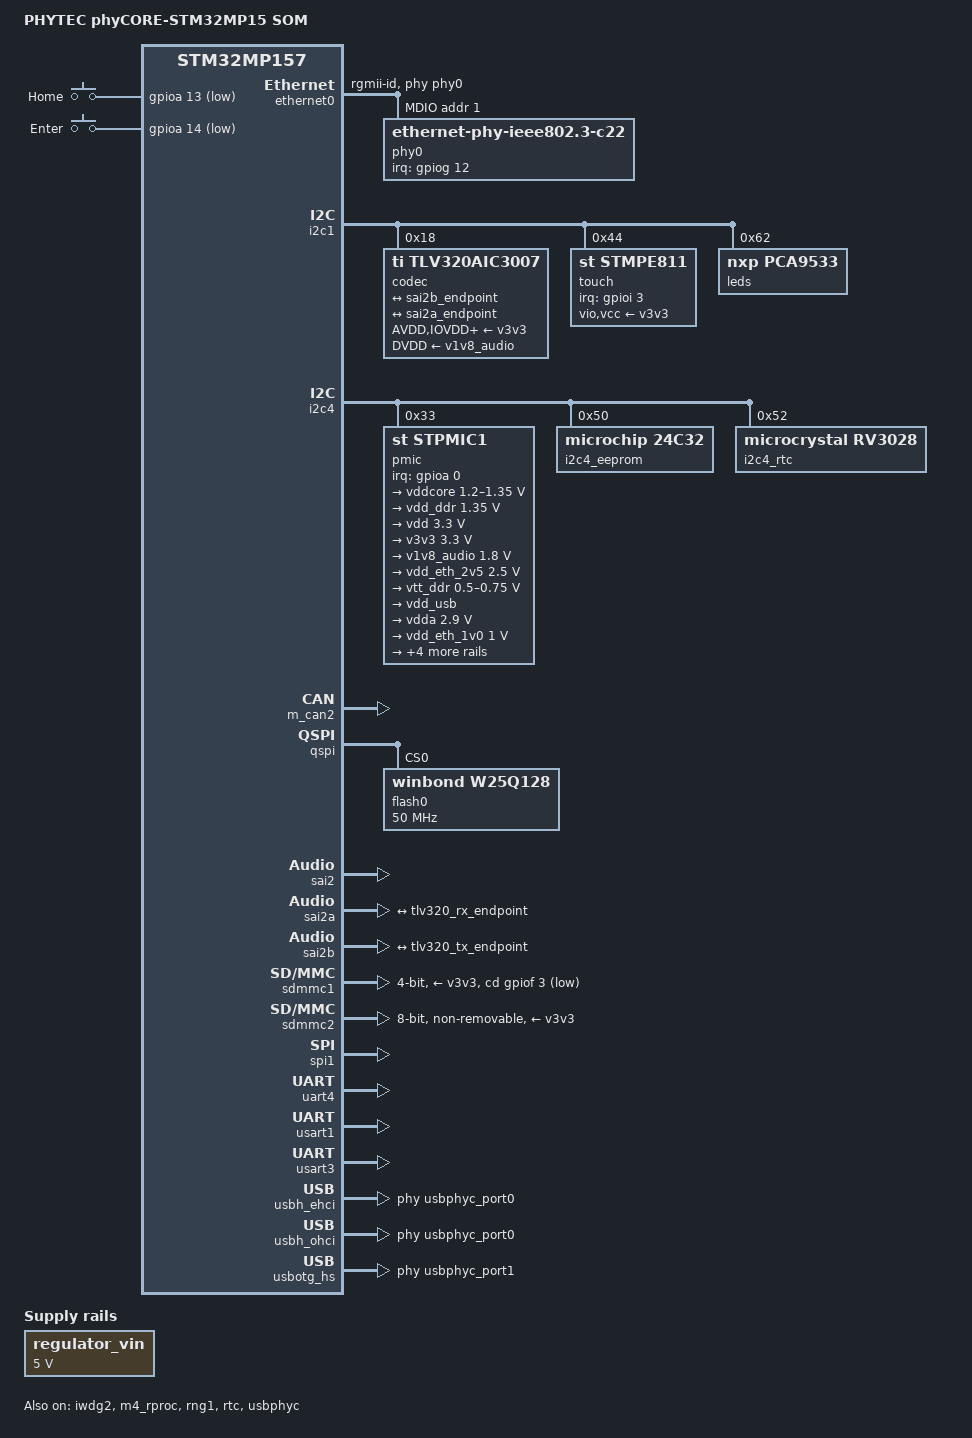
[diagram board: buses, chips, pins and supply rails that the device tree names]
// SPDX-License-Identifier: (GPL-2.0+ OR BSD-3-Clause)
/*
 * Copyright (C) 2022-2023 Steffen Trumtrar <kernel@pengutronix.de>
 * Copyright (C) Phytec GmbH 2019-2020 - All Rights Reserved
 * Author: Dom VOVARD <dom.vovard@linrt.com>.
 */

#include <dt-bindings/gpio/gpio.h>
#include <dt-bindings/input/input.h>
#include <dt-bindings/interrupt-controller/arm-gic.h>
#include <dt-bindings/interrupt-controller/irq.h>
#include <dt-bindings/leds/common.h>
#include <dt-bindings/leds/leds-pca9532.h>
#include <dt-bindings/mfd/st,stpmic1.h>
#include <dt-bindings/net/ti-dp83867.h>
#include "stm32mp15-pinctrl.dtsi"

/ {
	model = "PHYTEC phyCORE-STM32MP15 SOM";
	compatible = "phytec,phycore-stm32mp157c-som", "st,stm32mp157";

	aliases {
		ethernet0 = &ethernet0;
		rtc0 = &i2c4_rtc;
		rtc1 = &rtc;
	};

	chosen {
		stdout-path = "serial0:115200n8";
	};

	gpio-keys {
		compatible = "gpio-keys";

		key-home {
			label = "Home";
			gpios = <&gpioa 13 GPIO_ACTIVE_LOW>;
			linux,code = <KEY_HOME>;
		};

		key-enter {
			label = "Enter";
			gpios = <&gpioa 14 GPIO_ACTIVE_LOW>;
			linux,code = <KEY_ENTER>;
		};
	};

	reserved-memory {
		#address-cells = <1>;
		#size-cells = <1>;
		ranges;

		retram: retram@38000000 {
			compatible = "shared-dma-pool";
			reg = <0x38000000 0x10000>;
			no-map;
		};

		mcuram: mcuram@30000000 {
			compatible = "shared-dma-pool";
			reg = <0x30000000 0x40000>;
			no-map;
		};

		mcuram2: mcuram2@10000000 {
			compatible = "shared-dma-pool";
			reg = <0x10000000 0x40000>;
			no-map;
		};

		vdev0vring0: vdev0vring0@10040000 {
			compatible = "shared-dma-pool";
			reg = <0x10040000 0x1000>;
			no-map;
		};

		vdev0vring1: vdev0vring1@10041000 {
			compatible = "shared-dma-pool";
			reg = <0x10041000 0x1000>;
			no-map;
		};

		vdev0buffer: vdev0buffer@10042000 {
			compatible = "shared-dma-pool";
			reg = <0x10042000 0x4000>;
			no-map;
		};
	};

	sound {
		compatible = "audio-graph-card";
		label = "STM32MP1-PHYCORE";
		routing =
			"Playback", "MCLK", /* Set a route between "MCLK" and "playback" widgets */
			"Capture", "MCLK";
		dais = <&sai2b_port>,
		       <&sai2a_port>;
	};

	regulator_vin: regulator {
		compatible = "regulator-fixed";
		regulator-name = "vin";
		regulator-min-microvolt = <5000000>;
		regulator-max-microvolt = <5000000>;
		regulator-always-on;
	};
};

&ethernet0 {
	pinctrl-0 = <&ethernet0_rgmii_pins_d>;
	pinctrl-1 = <&ethernet0_rgmii_sleep_pins_d>;
	pinctrl-names = "default", "sleep";
	phy-mode = "rgmii-id";
	max-speed = <1000>;
	phy-handle = <&phy0>;
	st,eth-clk-sel;
	status = "okay";

	mdio {
		#address-cells = <1>;
		#size-cells = <0>;
		compatible = "snps,dwmac-mdio";

		phy0: ethernet-phy@1 {
			compatible = "ethernet-phy-ieee802.3-c22";
			reg = <1>;
			interrupt-parent = <&gpiog>;
			interrupts = <12 IRQ_TYPE_EDGE_FALLING>;
			ti,rx-internal-delay = <DP83867_RGMIIDCTL_2_00_NS>;
			ti,tx-internal-delay = <DP83867_RGMIIDCTL_2_00_NS>;
			ti,fifo-depth = <DP83867_PHYCR_FIFO_DEPTH_4_B_NIB>;
			ti,min-output-impedance;
			enet-phy-lane-no-swap;
			ti,clk-output-sel = <DP83867_CLK_O_SEL_OFF>;
		};
	};
};

&i2c1 {
	pinctrl-names = "default", "sleep";
	pinctrl-0 = <&i2c1_pins_b>;
	pinctrl-1 = <&i2c1_sleep_pins_b>;
	i2c-scl-rising-time-ns = <100>;
	i2c-scl-falling-time-ns = <7>;
	status = "okay";

	codec@18 {
		compatible = "ti,tlv320aic3007";
		reg = <0x18>;
		#sound-dai-cells = <0>;

		ai3x-micbias-vg = <2>;

		AVDD-supply = <&v3v3>;
		IOVDD-supply = <&v3v3>;
		DRVDD-supply = <&v3v3>;
		DVDD-supply = <&v1v8_audio>;

		clocks = <&sai2b>;

		port {
			#address-cells = <1>;
			#size-cells = <0>;

			tlv320_tx_endpoint: endpoint@0 {
				reg = <0>;
				remote-endpoint = <&sai2b_endpoint>;
				frame-master;
				bitclock-master;
			};

			tlv320_rx_endpoint: endpoint@1 {
				reg = <1>;
				remote-endpoint = <&sai2a_endpoint>;
				frame-master;
				bitclock-master;
			};
		};
	};

	touch@44 {
		compatible = "st,stmpe811";
		reg = <0x44>;
		interrupts = <3 IRQ_TYPE_EDGE_FALLING>;
		interrupt-parent = <&gpioi>;
		vio-supply = <&v3v3>;
		vcc-supply = <&v3v3>;

		touchscreen {
			compatible = "st,stmpe-ts";
			st,sample-time = <4>;
			st,mod-12b = <1>;
			st,ref-sel = <0>;
			st,adc-freq = <1>;
			st,ave-ctrl = <1>;
			st,touch-det-delay = <2>;
			st,settling = <2>;
			st,fraction-z = <7>;
			st,i-drive = <1>;
		};
	};

	leds@62 {
		compatible = "nxp,pca9533";
		reg = <0x62>;

		led-0 {
			color = <LED_COLOR_ID_RED>;
			function = LED_FUNCTION_POWER;
			type = <PCA9532_TYPE_LED>;
		};

		led-1 {
			color = <LED_COLOR_ID_GREEN>;
			function = LED_FUNCTION_POWER;
			type = <PCA9532_TYPE_LED>;
		};

		led-2 {
			color = <LED_COLOR_ID_BLUE>;
			function = LED_FUNCTION_HEARTBEAT;
			type = <PCA9532_TYPE_LED>;
			linux,default-trigger = "heartbeat";
		};
	};
};

&i2c4 {
	pinctrl-names = "default", "sleep";
	pinctrl-0 = <&i2c4_pins_a>;
	pinctrl-1 = <&i2c4_sleep_pins_a>;
	i2c-scl-rising-time-ns = <185>;
	i2c-scl-falling-time-ns = <20>;
	status = "okay";

	pmic@33 {
		compatible = "st,stpmic1";
		reg = <0x33>;
		interrupts-extended = <&gpioa 0 IRQ_TYPE_EDGE_FALLING>;
		interrupt-controller;
		#interrupt-cells = <2>;

		regulators {
			compatible = "st,stpmic1-regulators";
			buck1-supply = <&regulator_vin>;
			buck2-supply = <&regulator_vin>;
			buck3-supply = <&regulator_vin>;
			buck4-supply = <&regulator_vin>;
			ldo1-supply = <&v3v3>;
			ldo2-supply = <&v3v3>;
			ldo3-supply = <&vdd_ddr>;
			ldo4-supply = <&regulator_vin>;
			ldo5-supply = <&v3v3>;
			ldo6-supply = <&v3v3>;
			boost-supply = <&regulator_vin>;
			pwr_sw1-supply = <&bst_out>;
			pwr_sw2-supply = <&bst_out>;

			vddcore: buck1 {
				regulator-name = "vddcore";
				regulator-min-microvolt = <1200000>;
				regulator-max-microvolt = <1350000>;
				regulator-always-on;
				regulator-initial-mode = <0>;
			};

			vdd_ddr: buck2 {
				regulator-name = "vdd_ddr";
				regulator-min-microvolt = <1350000>;
				regulator-max-microvolt = <1350000>;
				regulator-always-on;
				regulator-initial-mode = <0>;
			};

			vdd: buck3 {
				regulator-name = "vdd";
				regulator-min-microvolt = <3300000>;
				regulator-max-microvolt = <3300000>;
				regulator-always-on;
				st,mask-reset;
				regulator-initial-mode = <0>;
			};

			v3v3: buck4 {
				regulator-name = "v3v3";
				regulator-min-microvolt = <3300000>;
				regulator-max-microvolt = <3300000>;
				regulator-always-on;
				regulator-initial-mode = <0>;
			};

			v1v8_audio: ldo1 {
				regulator-name = "v1v8_audio";
				regulator-min-microvolt = <1800000>;
				regulator-max-microvolt = <1800000>;
				regulator-always-on;
				interrupts = <IT_CURLIM_LDO1 0>;

			};

			vdd_eth_2v5: ldo2 {
				regulator-name = "dd_eth_2v5";
				regulator-min-microvolt = <2500000>;
				regulator-max-microvolt = <2500000>;
				regulator-always-on;
				interrupts = <IT_CURLIM_LDO2 0>;

			};

			vtt_ddr: ldo3 {
				regulator-name = "vtt_ddr";
				regulator-min-microvolt = <500000>;
				regulator-max-microvolt = <750000>;
				regulator-always-on;
				regulator-over-current-protection;
			};

			vdd_usb: ldo4 {
				regulator-name = "vdd_usb";
				interrupts = <IT_CURLIM_LDO4 0>;
			};

			vdda: ldo5 {
				regulator-name = "vdda";
				regulator-min-microvolt = <2900000>;
				regulator-max-microvolt = <2900000>;
				interrupts = <IT_CURLIM_LDO5 0>;
				regulator-boot-on;
			};

			vdd_eth_1v0: ldo6 {
				regulator-name = "vdd_eth_1v0";
				regulator-min-microvolt = <1000000>;
				regulator-max-microvolt = <1000000>;
				regulator-always-on;
				interrupts = <IT_CURLIM_LDO6 0>;

			};

			vref_ddr: vref_ddr {
				regulator-name = "vref_ddr";
				regulator-always-on;
			};

			bst_out: boost {
				regulator-name = "bst_out";
				interrupts = <IT_OCP_BOOST 0>;
			};

			vbus_otg: pwr_sw1 {
				regulator-name = "vbus_otg";
				interrupts = <IT_OCP_OTG 0>;
				regulator-active-discharge = <1>;
			};

			vbus_sw: pwr_sw2 {
				regulator-name = "vbus_sw";
				interrupts = <IT_OCP_SWOUT 0>;
				regulator-active-discharge = <1>;
			};
		};

		onkey {
			compatible = "st,stpmic1-onkey";
			interrupts = <IT_PONKEY_F 0>,
				     <IT_PONKEY_R 0>;
			interrupt-names = "onkey-falling",
					  "onkey-rising";
			power-off-time-sec = <10>;
		};

		watchdog {
			compatible = "st,stpmic1-wdt";
		};
	};

	i2c4_eeprom: eeprom@50 {
		compatible = "microchip,24c32",
			     "atmel,24c32";
		reg = <0x50>;
	};

	i2c4_rtc: rtc@52 {
		compatible = "microcrystal,rv3028";
		reg = <0x52>;
	};
};

&ipcc {
	status = "okay";
};

&iwdg2 {
	timeout-sec = <32>;
	status = "okay";
};

&m_can2 {
	pinctrl-names = "default", "sleep";
	pinctrl-0 = <&m_can2_pins_a>;
	pinctrl-1 = <&m_can2_sleep_pins_a>;
	status = "okay";
};

&m4_rproc {
	memory-region = <&retram>, <&mcuram>, <&mcuram2>, <&vdev0vring0>,
			<&vdev0vring1>, <&vdev0buffer>;
	mboxes = <&ipcc 0>, <&ipcc 1>, <&ipcc 2>, <&ipcc 3>;
	mbox-names = "vq0", "vq1", "shutdown", "detach";
	interrupt-parent = <&exti>;
	interrupts = <68 1>;
	status = "okay";
};

&pwr_regulators {
	vdd-supply = <&vdd>;
	vdd_3v3_usbfs-supply = <&vdd_usb>;
};

&qspi {
	pinctrl-names = "default", "sleep";
	pinctrl-0 = <&qspi_clk_pins_a &qspi_bk1_pins_a>;
	pinctrl-1 = <&qspi_clk_sleep_pins_a &qspi_bk1_sleep_pins_a>;
	status = "okay";

	flash0: flash@0 {
		compatible = "winbond,w25q128", "jedec,spi-nor";
		reg = <0>;
		spi-rx-bus-width = <4>;
		spi-max-frequency = <50000000>;
		m25p,fast-read;
		#address-cells = <1>;
		#size-cells = <1>;
	};
};

&rng1 {
	status = "okay";
};

&rtc {
	status = "okay";
};

&sai2 {
	clocks = <&rcc SAI2>, <&rcc PLL3_Q>, <&rcc PLL3_R>;
	clock-names = "pclk", "x8k", "x11k";
	pinctrl-names = "default", "sleep";
	pinctrl-0 = <&sai2a_pins_b>, <&sai2b_pins_d>;
	pinctrl-1 = <&sai2a_sleep_pins_b>, <&sai2b_sleep_pins_d>;
	status = "okay";
};

&sai2a {
	dma-names = "rx";
	st,sync = <&sai2b 2>;
	clocks = <&rcc SAI2_K>, <&sai2b>;
	clock-names = "sai_ck", "MCLK";
	#clock-cells = <0>;

	sai2a_port: port {
		sai2a_endpoint: endpoint {
			remote-endpoint = <&tlv320_rx_endpoint>;
			mclk-fs = <256>;
			dai-tdm-slot-num = <2>;
			dai-tdm-slot-width = <16>;
		};
	};
};

&sai2b {
	dma-names = "tx";
	#clock-cells = <0>;

	sai2b_port: port {
		sai2b_endpoint: endpoint {
			remote-endpoint = <&tlv320_tx_endpoint>;
			mclk-fs = <256>;
			dai-tdm-slot-num = <2>;
			dai-tdm-slot-width = <16>;
		};
	};
};

&sdmmc1 {
	pinctrl-names = "default", "opendrain", "sleep";
	pinctrl-0 = <&sdmmc1_b4_pins_b>;
	pinctrl-1 = <&sdmmc1_b4_od_pins_b>;
	pinctrl-2 = <&sdmmc1_b4_sleep_pins_b>;
	cd-gpios = <&gpiof 3 GPIO_ACTIVE_LOW>;
	disable-wp;
	st,neg-edge;
	bus-width = <4>;
	vmmc-supply = <&v3v3>;
	status = "okay";
};

&sdmmc2 {
	pinctrl-names = "default", "opendrain", "sleep";
	pinctrl-0 = <&sdmmc2_b4_pins_a &sdmmc2_d47_pins_e>;
	pinctrl-1 = <&sdmmc2_b4_od_pins_a &sdmmc2_d47_pins_e>;
	pinctrl-2 = <&sdmmc2_b4_sleep_pins_a &sdmmc2_d47_sleep_pins_e>;
	non-removable;
	no-sd;
	no-sdio;
	st,neg-edge;
	bus-width = <8>;
	vmmc-supply = <&v3v3>;
	vqmmc-supply = <&v3v3>;
	mmc-ddr-3_3v;
};

&spi1 {
	pinctrl-names = "default", "sleep";
	pinctrl-0 = <&spi1_pins_a>;
	pinctrl-1 = <&spi1_sleep_pins_a>;
	cs-gpios = <&gpioz 3 0>;
	status = "okay";
};

&uart4 {
	pinctrl-names = "default", "sleep", "idle";
	pinctrl-0 = <&uart4_pins_a>;
	pinctrl-1 = <&uart4_sleep_pins_a>;
	pinctrl-2 = <&uart4_idle_pins_a>;
	pinctrl-3 = <&uart4_pins_a>;
	/delete-property/dmas;
	/delete-property/dma-names;
	status = "okay";
};

&usart1 {
	pinctrl-names = "default", "sleep", "idle";
	pinctrl-0 = <&usart1_pins_b &usart1_pins_a>;
	pinctrl-1 = <&usart1_sleep_pins_b &usart1_sleep_pins_a>;
	pinctrl-2 = <&usart1_idle_pins_b &usart1_idle_pins_a>;
	uart-has-rtscts;
	status = "okay";
};

&usart3 {
	pinctrl-names = "default", "sleep", "idle";
	pinctrl-0 = <&usart3_pins_a>;
	pinctrl-1 = <&usart3_sleep_pins_a>;
	pinctrl-2 = <&usart3_idle_pins_a>;
	status = "okay";
};

&usbh_ehci {
	phys = <&usbphyc_port0>;
	phy-names = "usb";
	status = "okay";
};

&usbh_ohci {
	phys = <&usbphyc_port0>;
	phy-names = "usb";
	status = "okay";
};

&usbotg_hs {
	phys = <&usbphyc_port1 0>;
	phy-names = "usb2-phy";
	status = "okay";
};

&usbphyc {
	status = "okay";
};

&usbphyc_port0 {
	phy-supply = <&vdd_usb>;
};

&usbphyc_port1 {
	phy-supply = <&vdd_usb>;
};
